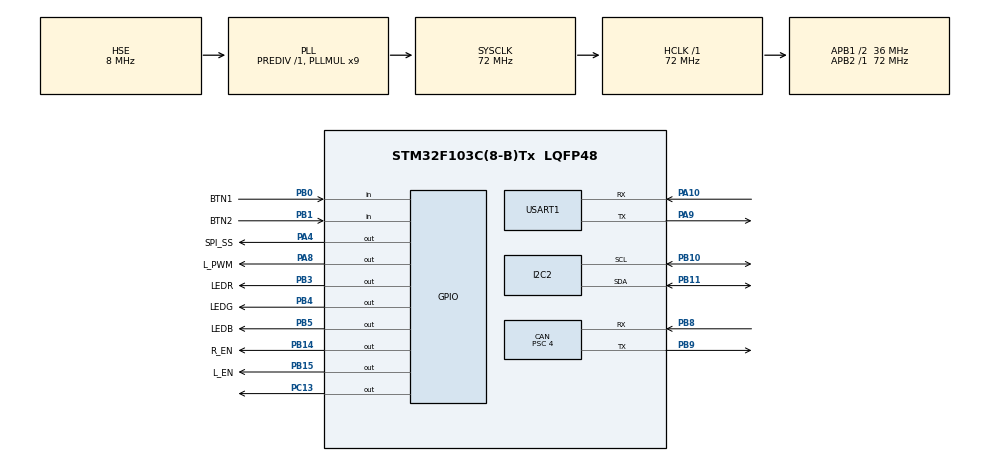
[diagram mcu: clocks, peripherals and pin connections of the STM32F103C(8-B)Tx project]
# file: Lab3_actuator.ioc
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CAN.BS1=CAN_BS1_13TQ
CAN.BS2=CAN_BS2_4TQ
CAN.CalculateBaudRate=500000
CAN.CalculateTimeBit=2000
CAN.CalculateTimeQuantum=111.11111111111111
CAN.Prescaler=4
CAN.SJW=CAN_SJW_2TQ
Mcu.Family=STM32F1
Mcu.Name=STM32F103C(8-B)Tx
Mcu.Package=LQFP48
NVIC.CAN1_RX1_IRQn=true\:0\:0\:false\:false\:true\:true\:true\:true
NVIC.PriorityGroup=NVIC_PRIORITYGROUP_4
NVIC.TIM2_IRQn=true\:0\:0\:false\:false\:true\:true\:true\:true
NVIC.TIM3_IRQn=true\:0\:0\:false\:false\:true\:true\:true\:true
PA10.Mode=Asynchronous
PA10.Signal=USART1_RX
PA13.Mode=Serial_Wire
PA13.Signal=SYS_JTMS-SWDIO
PA14.Mode=Serial_Wire
PA14.Signal=SYS_JTCK-SWCLK
PA4.GPIO_Label=SPI_SS
PA4.Signal=GPIO_Output
PA8.GPIO_Label=L_PWM
PA8.Signal=GPIO_Output
PA9.Mode=Asynchronous
PA9.Signal=USART1_TX
PB0.GPIO_Label=BTN1
PB0.Signal=GPIO_Input
PB1.GPIO_Label=BTN2
PB1.Signal=GPIO_Input
PB10.Mode=I2C
PB10.Signal=I2C2_SCL
PB11.Mode=I2C
PB11.Signal=I2C2_SDA
PB14.GPIO_Label=R_EN
PB14.Signal=GPIO_Output
PB15.GPIO_Label=L_EN
PB15.Signal=GPIO_Output
PB3.GPIO_Label=LEDR
PB3.PinState=GPIO_PIN_SET
PB3.Signal=GPIO_Output
PB4.GPIO_Label=LEDG
PB4.PinState=GPIO_PIN_SET
PB4.Signal=GPIO_Output
PB5.GPIO_Label=LEDB
PB5.PinState=GPIO_PIN_SET
PB5.Signal=GPIO_Output
PB8.Mode=CAN_Activate
PB8.Signal=CAN_RX
PB9.Mode=CAN_Activate
PB9.Signal=CAN_TX
PC13-TAMPER-RTC.Signal=GPIO_Output
PD0-OSC_IN.Mode=HSE-External-Oscillator
PD0-OSC_IN.Signal=RCC_OSC_IN
PD1-OSC_OUT.Mode=HSE-External-Oscillator
PD1-OSC_OUT.Signal=RCC_OSC_OUT
ProjectManager.HeapSize=0x200
ProjectManager.StackSize=0x400
ProjectManager.TargetToolchain=STM32CubeIDE
RCC.AHBFreq_Value=72000000
RCC.APB1CLKDivider=RCC_HCLK_DIV2
RCC.APB1Freq_Value=36000000
RCC.APB1TimFreq_Value=72000000
RCC.APB2Freq_Value=72000000
RCC.APB2TimFreq_Value=72000000
RCC.HCLKFreq_Value=72000000
RCC.PLLMUL=RCC_PLL_MUL9
RCC.PLLSourceVirtual=RCC_PLLSOURCE_HSE
RCC.SYSCLKFreq_VALUE=72000000
RCC.SYSCLKSource=RCC_SYSCLKSOURCE_PLLCLK
RCC.USBFreq_Value=72000000
TIM2.Period=199
TIM2.Prescaler=7199
TIM3.Period=199
TIM3.Prescaler=35999
USART1.VirtualMode=VM_ASYNC
VP_TIM2_VS_ClockSourceINT.Mode=Internal
VP_TIM3_VS_ClockSourceINT.Mode=Internal
board=custom

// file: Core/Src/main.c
/* USER CODE BEGIN Header */
/**
  ******************************************************************************
  * @file           : main.c
  * @brief          : Main program body
  ******************************************************************************
  * @attention
  *
  * Copyright (c) 2023 STMicroelectronics.
  * All rights reserved.
  *
  * This software is licensed under terms that can be found in the LICENSE file
  * in the root directory of this software component.
  * If no LICENSE file comes with this software, it is provided AS-IS.
  *
  ******************************************************************************
  */
/* USER CODE END Header */
#include "main.h"

/* USER CODE BEGIN Includes */
#include "canbus.h"
/* USER CODE END Includes */

CAN_HandleTypeDef hcan;

I2C_HandleTypeDef hi2c2;

TIM_HandleTypeDef htim2;
TIM_HandleTypeDef htim3;

UART_HandleTypeDef huart1;

/* USER CODE BEGIN PV */
/* CAN Tx variables */
int DataFlag = 0;

/* CAN Rx variables */
extern int ReceiveFlag;
extern uint8_t RxBuffer[];
extern CAN_RxHeaderTypeDef RxHeader;
/* USER CODE END PV */

void SystemClock_Config(void);
static void MX_GPIO_Init(void);
static void MX_I2C2_Init(void);
static void MX_TIM2_Init(void);
static void MX_TIM3_Init(void);
static void MX_USART1_UART_Init(void);
static void MX_CAN_Init(void);

/* USER CODE BEGIN 0 */

void HAL_TIM_PeriodElapsedCallback(TIM_HandleTypeDef *htim)
{
 if(htim->Instance == htim2.Instance)
 {
   HAL_GPIO_TogglePin(GPIOC, GPIO_PIN_13);
   DataFlag = 1;
 }
}
/* USER CODE END 0 */

int main(void)
{

  /* MCU Configuration--------------------------------------------------------*/

  /* Reset of all peripherals, Initializes the Flash interface and the Systick. */
  HAL_Init();

  /* Configure the system clock */
  SystemClock_Config();

  /* Initialize all configured peripherals */
  MX_GPIO_Init();
  MX_I2C2_Init();
  MX_TIM2_Init();
  MX_TIM3_Init();
  MX_USART1_UART_Init();
  MX_CAN_Init();
  /* USER CODE BEGIN 2 */

  if (HAL_CAN_Start(&hcan) != HAL_OK)
  {
	  Error_Handler();
  }
  HAL_CAN_ActivateNotification(&hcan, CAN_IT_RX_FIFO1_MSG_PENDING);
  HAL_TIM_Base_Start_IT(&htim2);
  /* USER CODE END 2 */

  /* Infinite loop */
  /* USER CODE BEGIN WHILE */
    while (1)
    {
    	if (ReceiveFlag == 1)
    	{
    		ReceiveFlag = 0;
			HAL_TIM_Base_Start_IT(&htim2);
    		while (DataFlag != 1);
    		calc_Response();
    		CAN_Transmit(&hcan);
    		HAL_Delay(2000);
    	}
    /* USER CODE END WHILE */

    }
}

void SystemClock_Config(void)
{
  RCC_OscInitTypeDef RCC_OscInitStruct = {0};
  RCC_ClkInitTypeDef RCC_ClkInitStruct = {0};

  /** Initializes the RCC Oscillators according to the specified parameters
  * in the RCC_OscInitTypeDef structure.
  */
  RCC_OscInitStruct.OscillatorType = RCC_OSCILLATORTYPE_HSE;
  RCC_OscInitStruct.HSEState = RCC_HSE_ON;
  RCC_OscInitStruct.HSEPredivValue = RCC_HSE_PREDIV_DIV1;
  RCC_OscInitStruct.HSIState = RCC_HSI_ON;
  RCC_OscInitStruct.PLL.PLLState = RCC_PLL_ON;
  RCC_OscInitStruct.PLL.PLLSource = RCC_PLLSOURCE_HSE;
  RCC_OscInitStruct.PLL.PLLMUL = RCC_PLL_MUL9;
  if (HAL_RCC_OscConfig(&RCC_OscInitStruct) != HAL_OK)
  {
    Error_Handler();
  }

  /** Initializes the CPU, AHB and APB buses clocks
  */
  RCC_ClkInitStruct.ClockType = RCC_CLOCKTYPE_HCLK|RCC_CLOCKTYPE_SYSCLK
                              |RCC_CLOCKTYPE_PCLK1|RCC_CLOCKTYPE_PCLK2;
  RCC_ClkInitStruct.SYSCLKSource = RCC_SYSCLKSOURCE_PLLCLK;
  RCC_ClkInitStruct.AHBCLKDivider = RCC_SYSCLK_DIV1;
  RCC_ClkInitStruct.APB1CLKDivider = RCC_HCLK_DIV2;
  RCC_ClkInitStruct.APB2CLKDivider = RCC_HCLK_DIV1;

  if (HAL_RCC_ClockConfig(&RCC_ClkInitStruct, FLASH_LATENCY_2) != HAL_OK)
  {
    Error_Handler();
  }
}

static void MX_CAN_Init(void)
{

  hcan.Instance = CAN1;
  hcan.Init.Prescaler = 4;
  hcan.Init.Mode = CAN_MODE_NORMAL;
  hcan.Init.SyncJumpWidth = CAN_SJW_2TQ;
  hcan.Init.TimeSeg1 = CAN_BS1_13TQ;
  hcan.Init.TimeSeg2 = CAN_BS2_4TQ;
  hcan.Init.TimeTriggeredMode = DISABLE;
  hcan.Init.AutoBusOff = DISABLE;
  hcan.Init.AutoWakeUp = DISABLE;
  hcan.Init.AutoRetransmission = DISABLE;
  hcan.Init.ReceiveFifoLocked = DISABLE;
  hcan.Init.TransmitFifoPriority = DISABLE;
  if (HAL_CAN_Init(&hcan) != HAL_OK)
  {
    Error_Handler();
  }
  /* USER CODE BEGIN CAN_Init 2 */
  CAN_FilterTypeDef canfilterconfig;

  canfilterconfig.FilterActivation = CAN_FILTER_ENABLE;
  canfilterconfig.FilterBank = 12;  // which filter bank to use from the assigned ones
  canfilterconfig.FilterFIFOAssignment = CAN_FILTER_FIFO1;
  canfilterconfig.FilterIdHigh = 0x0a2<<5;
  canfilterconfig.FilterIdLow = 0;
  canfilterconfig.FilterMaskIdHigh = 0x0a2<<5;
  canfilterconfig.FilterMaskIdLow = 0x0000;
  canfilterconfig.FilterMode = CAN_FILTERMODE_IDMASK;
  canfilterconfig.FilterScale = CAN_FILTERSCALE_32BIT;
  canfilterconfig.SlaveStartFilterBank = 13;  // how many filters to assign to the CAN1 (master can)

  HAL_CAN_ConfigFilter(&hcan, &canfilterconfig);
  /* USER CODE END CAN_Init 2 */

}

static void MX_I2C2_Init(void)
{

  hi2c2.Instance = I2C2;
  hi2c2.Init.ClockSpeed = 100000;
  hi2c2.Init.DutyCycle = I2C_DUTYCYCLE_2;
  hi2c2.Init.OwnAddress1 = 0;
  hi2c2.Init.AddressingMode = I2C_ADDRESSINGMODE_7BIT;
  hi2c2.Init.DualAddressMode = I2C_DUALADDRESS_DISABLE;
  hi2c2.Init.OwnAddress2 = 0;
  hi2c2.Init.GeneralCallMode = I2C_GENERALCALL_DISABLE;
  hi2c2.Init.NoStretchMode = I2C_NOSTRETCH_DISABLE;
  if (HAL_I2C_Init(&hi2c2) != HAL_OK)
  {
    Error_Handler();
  }

}

static void MX_TIM2_Init(void)
{

  TIM_ClockConfigTypeDef sClockSourceConfig = {0};
  TIM_MasterConfigTypeDef sMasterConfig = {0};

  htim2.Instance = TIM2;
  htim2.Init.Prescaler = 7199;
  htim2.Init.CounterMode = TIM_COUNTERMODE_UP;
  htim2.Init.Period = 199;
  htim2.Init.ClockDivision = TIM_CLOCKDIVISION_DIV1;
  htim2.Init.AutoReloadPreload = TIM_AUTORELOAD_PRELOAD_DISABLE;
  if (HAL_TIM_Base_Init(&htim2) != HAL_OK)
  {
    Error_Handler();
  }
  sClockSourceConfig.ClockSource = TIM_CLOCKSOURCE_INTERNAL;
  if (HAL_TIM_ConfigClockSource(&htim2, &sClockSourceConfig) != HAL_OK)
  {
    Error_Handler();
  }
  sMasterConfig.MasterOutputTrigger = TIM_TRGO_RESET;
  sMasterConfig.MasterSlaveMode = TIM_MASTERSLAVEMODE_DISABLE;
  if (HAL_TIMEx_MasterConfigSynchronization(&htim2, &sMasterConfig) != HAL_OK)
  {
    Error_Handler();
  }

}

static void MX_TIM3_Init(void)
{

  TIM_ClockConfigTypeDef sClockSourceConfig = {0};
  TIM_MasterConfigTypeDef sMasterConfig = {0};

  htim3.Instance = TIM3;
  htim3.Init.Prescaler = 35999;
  htim3.Init.CounterMode = TIM_COUNTERMODE_UP;
  htim3.Init.Period = 199;
  htim3.Init.ClockDivision = TIM_CLOCKDIVISION_DIV1;
  htim3.Init.AutoReloadPreload = TIM_AUTORELOAD_PRELOAD_DISABLE;
  if (HAL_TIM_Base_Init(&htim3) != HAL_OK)
  {
    Error_Handler();
  }
  sClockSourceConfig.ClockSource = TIM_CLOCKSOURCE_INTERNAL;
  if (HAL_TIM_ConfigClockSource(&htim3, &sClockSourceConfig) != HAL_OK)
  {
    Error_Handler();
  }
  sMasterConfig.MasterOutputTrigger = TIM_TRGO_RESET;
  sMasterConfig.MasterSlaveMode = TIM_MASTERSLAVEMODE_DISABLE;
  if (HAL_TIMEx_MasterConfigSynchronization(&htim3, &sMasterConfig) != HAL_OK)
  {
    Error_Handler();
  }

}

static void MX_USART1_UART_Init(void)
{

  huart1.Instance = USART1;
  huart1.Init.BaudRate = 115200;
  huart1.Init.WordLength = UART_WORDLENGTH_8B;
  huart1.Init.StopBits = UART_STOPBITS_1;
  huart1.Init.Parity = UART_PARITY_NONE;
  huart1.Init.Mode = UART_MODE_TX_RX;
  huart1.Init.HwFlowCtl = UART_HWCONTROL_NONE;
  huart1.Init.OverSampling = UART_OVERSAMPLING_16;
  if (HAL_UART_Init(&huart1) != HAL_OK)
  {
    Error_Handler();
  }

}

static void MX_GPIO_Init(void)
{
  GPIO_InitTypeDef GPIO_InitStruct = {0};

  /* GPIO Ports Clock Enable */
  __HAL_RCC_GPIOC_CLK_ENABLE();
  __HAL_RCC_GPIOD_CLK_ENABLE();
  __HAL_RCC_GPIOA_CLK_ENABLE();
  __HAL_RCC_GPIOB_CLK_ENABLE();

  /*Configure GPIO pin Output Level */
  HAL_GPIO_WritePin(GPIOC, GPIO_PIN_13, GPIO_PIN_RESET);

  /*Configure GPIO pin Output Level */
  HAL_GPIO_WritePin(GPIOA, SPI_SS_Pin|L_PWM_Pin, GPIO_PIN_RESET);

  /*Configure GPIO pin Output Level */
  HAL_GPIO_WritePin(GPIOB, R_EN_Pin|L_EN_Pin, GPIO_PIN_RESET);

  /*Configure GPIO pin Output Level */
  HAL_GPIO_WritePin(GPIOB, LEDR_Pin|LEDG_Pin|LEDB_Pin, GPIO_PIN_SET);

  /*Configure GPIO pin : PC13 */
  GPIO_InitStruct.Pin = GPIO_PIN_13;
  GPIO_InitStruct.Mode = GPIO_MODE_OUTPUT_PP;
  GPIO_InitStruct.Pull = GPIO_NOPULL;
  GPIO_InitStruct.Speed = GPIO_SPEED_FREQ_LOW;
  HAL_GPIO_Init(GPIOC, &GPIO_InitStruct);

  /*Configure GPIO pins : SPI_SS_Pin L_PWM_Pin */
  GPIO_InitStruct.Pin = SPI_SS_Pin|L_PWM_Pin;
  GPIO_InitStruct.Mode = GPIO_MODE_OUTPUT_PP;
  GPIO_InitStruct.Pull = GPIO_NOPULL;
  GPIO_InitStruct.Speed = GPIO_SPEED_FREQ_LOW;
  HAL_GPIO_Init(GPIOA, &GPIO_InitStruct);

  /*Configure GPIO pins : BTN1_Pin BTN2_Pin */
  GPIO_InitStruct.Pin = BTN1_Pin|BTN2_Pin;
  GPIO_InitStruct.Mode = GPIO_MODE_INPUT;
  GPIO_InitStruct.Pull = GPIO_NOPULL;
  HAL_GPIO_Init(GPIOB, &GPIO_InitStruct);

  /*Configure GPIO pins : R_EN_Pin L_EN_Pin LEDR_Pin LEDG_Pin
                           LEDB_Pin */
  GPIO_InitStruct.Pin = R_EN_Pin|L_EN_Pin|LEDR_Pin|LEDG_Pin
                          |LEDB_Pin;
  GPIO_InitStruct.Mode = GPIO_MODE_OUTPUT_PP;
  GPIO_InitStruct.Pull = GPIO_NOPULL;
  GPIO_InitStruct.Speed = GPIO_SPEED_FREQ_LOW;
  HAL_GPIO_Init(GPIOB, &GPIO_InitStruct);

}

void Error_Handler(void)
{
  __disable_irq();
  while (1)
  {
  }
}
